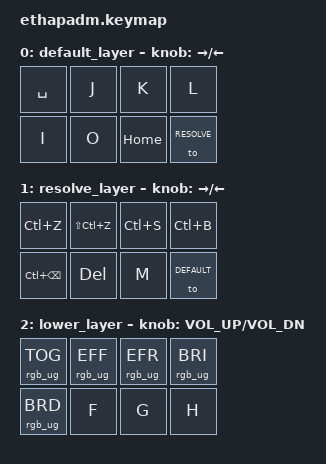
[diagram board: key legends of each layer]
#include <behaviors.dtsi>
#include <dt-bindings/zmk/keys.h>
#include <dt-bindings/zmk/bt.h>
#include <dt-bindings/zmk/outputs.h>
#include <dt-bindings/zmk/rgb.h>
#include <dt-bindings/zmk/mouse.h>

#define DEFAULT 0
#define RESOLVE 1
#define LOWER 2

&kscan0 {
    debounce-scan-period-ms = <10>;
};
&left_encoder {
    status = "okay";
};

&right_encoder {
    status = "disabled";
};

&led_strip {
    chain-length = <8>;
};
/ {
/*  ------------------
 *  |    /-----\  B8 |
 *  |    | ENC |     |
 *  | B1 \-----/  B7 |
 *  | B2 B3 B4 B5 B6 |
 *  ------------------
 */

    sensors {
        compatible = "zmk,keymap-sensors";
        sensors = <&left_encoder>;
    };

    keymap0: keymap {
        compatible = "zmk,keymap";

        default_layer {
            bindings = <
                            &kp SPACE   &kp J      &kp K      &kp L
                            &kp I       &kp O      &kp HOME   &to RESOLVE

            >;
            sensor-bindings = <&inc_dec_kp RIGHT LEFT>;

        };

        resolve_layer {
            bindings = <
                            &kp LC(Z)           &kp LS(LC(Z))      &kp LC(S)          &kp LC(B)
                            &kp LC(BACKSPACE)   &kp DELETE         &kp M              &to DEFAULT

            >;
            sensor-bindings = <&inc_dec_kp RIGHT LEFT>;

        };

        lower_layer {
            bindings = <
                            &rgb_ug RGB_TOG    &rgb_ug RGB_EFF    &rgb_ug RGB_EFR
                            &rgb_ug RGB_BRI    &rgb_ug RGB_BRD    &kp F  &kp G  &kp H

            >;
            sensor-bindings = <&inc_dec_kp C_VOL_UP C_VOL_DN>;

        };

    };
};
